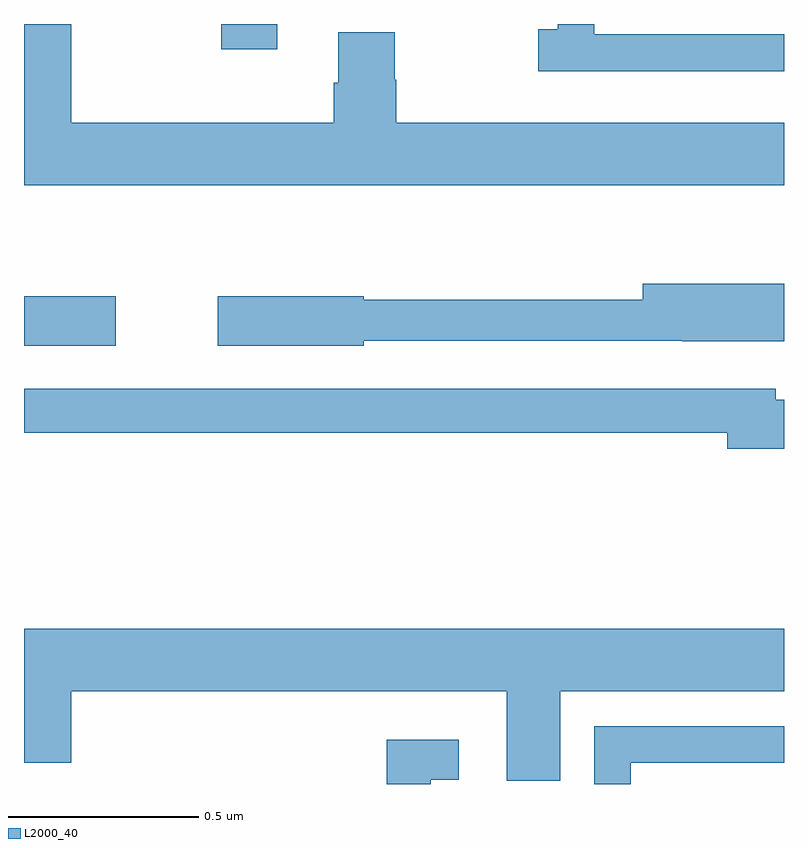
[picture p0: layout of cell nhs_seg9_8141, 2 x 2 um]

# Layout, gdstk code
import gdstk
lib = gdstk.Library(unit=1e-6, precision=1e-09)
def R(c, l, rs):  # rectangles x0, y0, x1, y1
    for r in rs: c.add(gdstk.rectangle(r[:2], r[2:], *l))
def P(c, l, *ps):  # polygons
    for p in ps: c.add(gdstk.Polygon(p, *l))
L2000_40 = (2000, 40)

nhs_seg9_8141 = lib.new_cell('nhs_seg9_8141')
R(nhs_seg9_8141, L2000_40, [(213,1206.653,213.241,1206.783), (213.519,1207.434,213.667,1207.5)])
P(nhs_seg9_8141, L2000_40, [(215,1207.24),(213.98,1207.24),(213.98,1207.353),(213.975,1207.353),(213.975,1207.478),(213.827,1207.478),(213.827,1207.346),(213.815,1207.346),(213.815,1207.24),(213.124,1207.24),(213.124,1207.5),(213,1207.5),(213,1207.076),(215,1207.076)],
  [(215,1207.473),(214.5,1207.473),(214.5,1207.5),(214.404,1207.5),(214.404,1207.486),(214.353,1207.486),(214.353,1207.376),(215,1207.376)],
  [(213.894,1206.666),(214.732,1206.666),(214.732,1206.665),(215,1206.665),(215,1206.817),(214.628,1206.817),(214.628,1206.775),(213.894,1206.775),(213.894,1206.783),(213.51,1206.783),(213.51,1206.653),(213.894,1206.653)],
  [(215,1206.511),(214.978,1206.511),(214.978,1206.54),(213,1206.54),(213,1206.424),(214.85,1206.424),(214.85,1206.382),(215,1206.382)],
  [(214.411,1205.744),(215,1205.744),(215,1205.908),(213,1205.908),(213,1205.556),(213.124,1205.556),(213.124,1205.744),(214.271,1205.744),(214.271,1205.509),(214.411,1205.509)],
  [(214.597,1205.556),(215,1205.556),(215,1205.652),(214.5,1205.652),(214.5,1205.5),(214.597,1205.5)],
  [(214.071,1205.511),(214.144,1205.511),(214.144,1205.617),(213.955,1205.617),(213.955,1205.5),(214.071,1205.5)])

lib.write_gds('nhs_seg9_8141.gds')
